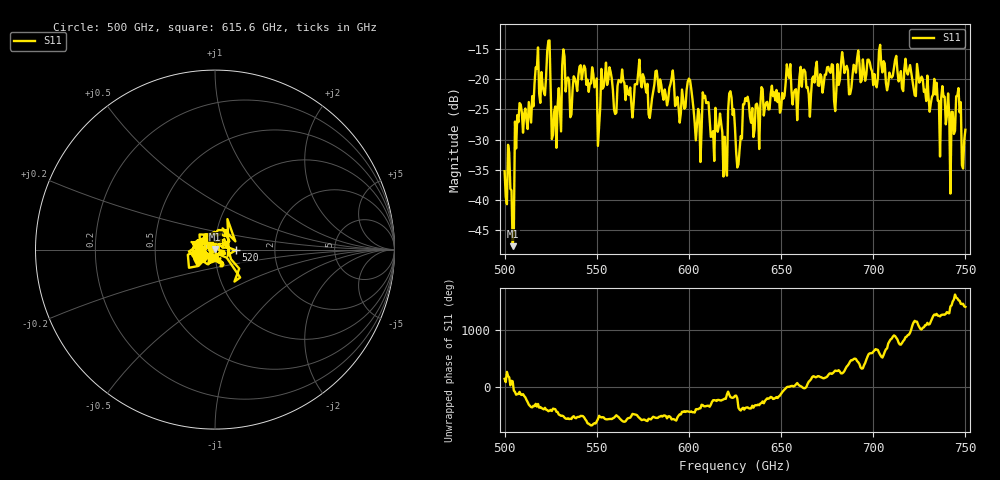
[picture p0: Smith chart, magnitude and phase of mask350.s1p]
!Created with skrf (http://scikit-rf.org).
# GHz S MA R 50.0
!freq magS11 angS11
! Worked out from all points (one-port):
!   401 points, 500 GHz to 750 GHz, reference 50 ohm
!   lowest |S11| = -47.6 dB at 504.4 GHz (marker M1), VSWR 1.01, Z = 49.9 + j0.408 ohm
!   |S11| at or under -10 dB: start of sweep to end of sweep
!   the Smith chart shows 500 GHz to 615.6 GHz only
!   S11 on the Smith chart (normalised r, x): 500 GHz: 0.97, +0.02; 520 GHz: 1.26, -0.01; 615.6 GHz: 0.95, +0.05
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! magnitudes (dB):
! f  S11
! 500 GHz  -35.2
! 504.4 GHz  -47.6
! 508.1 GHz  -23.9
! 520 GHz  -18.8
! 523.8 GHz  -13.6
! 526.9 GHz  -25.4
! 531.2 GHz  -17.7
! 548.8 GHz  -21.3
! 550.6 GHz  -31.0
! 553.8 GHz  -21.2
! 562.5 GHz  -20.3
! 593.8 GHz  -22.9
! 600 GHz  -19.9
! 605 GHz  -24.9
! 608.8 GHz  -22.7
! 612.5 GHz  -29.4
! 615.6 GHz  -28.7
! 619.4 GHz  -29.5
! 622.5 GHz  -22.0
! 625 GHz  -28.1
! 627.5 GHz  -31.6
! 630.6 GHz  -23.1
! 656.2 GHz  -24.2
! 687.5 GHz  -22.4
! 718.8 GHz  -19.2
! 743.1 GHz  -25.4
! 746.2 GHz  -21.5
! 750 GHz  -28.4
